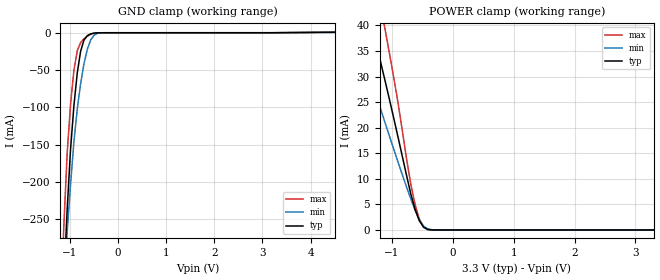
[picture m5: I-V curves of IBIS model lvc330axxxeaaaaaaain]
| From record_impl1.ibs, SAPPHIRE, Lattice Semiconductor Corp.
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[Model] lvc330axxxeaaaaaaain
Model_type Input
Polarity   Non-Inverting
Vinl =  0.800V
Vinh =  2.000V
C_comp   3.841pF   3.841pF   3.860pF
[Temperature Range]   25.000   0.125k   -40.000
[Voltage Range]   3.300V   3.140V   3.470V
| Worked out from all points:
|   GND clamp passes 1 mA (typ) near -0.53 V on its own axis
|   POWER clamp passes 1 mA (typ) near -0.50 V on its own axis
[GND_clamp]
|Voltage   I(typ)   I(min)   I(max)
-3.3V     -4.927A    -3.455A    -6.917A
-1.2V     -438.1mA   -409.1mA   -376.6mA
-1.13V    -332.7mA   -335.8mA   -259mA
-1.06V    -236.4mA   -267.1mA   -161.1mA
-990mV    -156.1mA   -203.2mA   -95.66mA
-920mV    -97.62mA   -146.3mA   -50.27mA
-850mV    -53.69mA   -101.9mA   -24mA
-780mV    -24.61mA   -67.98mA   -13.11mA
-710mV    -9.695mA   -41.33mA   -8.146mA
-570mV    -1.528mA   -9.486mA   -1.957mA
-290mV    -1.561uA   -33.47uA   -868.6nA
6.58V     1.74mA     1.178mA    2.308mA
[POWER_clamp]
|Voltage   I(typ)   I(min)   I(max)
-3.28V    129.1mA    106.9mA    153.6mA
-1.6V     52.73mA    39.39mA    69.01mA
-1.32V    39.47mA    28.73mA    52.34mA
-1.25V    36.07mA    26.11mA    48.02mA
-1.11V    29.12mA    20.93mA    39.16mA
-900mV    18.26mA    13.35mA    25mA
-690mV    7.137mA    6.13mA     9.076mA
-620mV    4.083mA    3.935mA    5.064mA
-550mV    1.846mA    2.033mA    2.166mA
-480mV    555.3uA    760.1uA    553.6uA
-410mV    97.55uA    197.5uA    70.38uA
3.3V      0A         0A         0A
